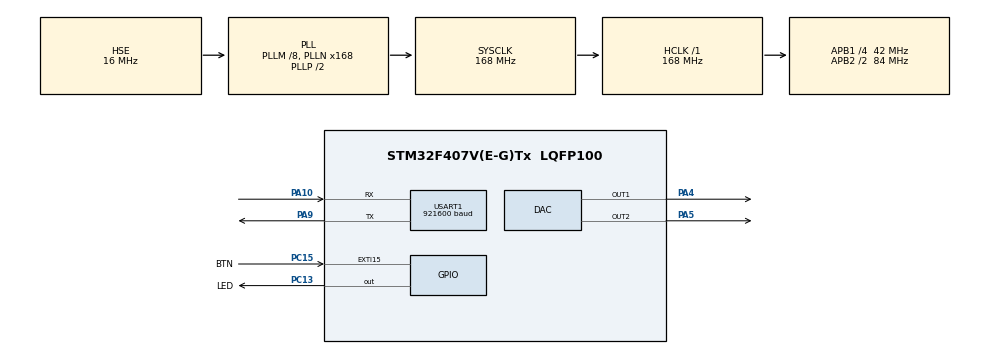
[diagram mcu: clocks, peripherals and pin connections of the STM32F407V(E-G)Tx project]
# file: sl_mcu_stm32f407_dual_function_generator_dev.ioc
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ARM.CMSIS.5.6.0.CMSISJjCORE=true
ARM.CMSIS.5.6.0.CMSISJjDSP=Library
DAC.DAC_Trigger=DAC_TRIGGER_T6_TRGO
DAC.DAC_Trigger2=DAC_TRIGGER_T6_TRGO
Dma.DAC1.0.Direction=DMA_MEMORY_TO_PERIPH
Dma.DAC1.0.FIFOMode=DMA_FIFOMODE_DISABLE
Dma.DAC1.0.Instance=DMA1_Stream5
Dma.DAC1.0.MemDataAlignment=DMA_MDATAALIGN_HALFWORD
Dma.DAC1.0.MemInc=DMA_MINC_ENABLE
Dma.DAC1.0.Mode=DMA_CIRCULAR
Dma.DAC1.0.PeriphDataAlignment=DMA_PDATAALIGN_HALFWORD
Dma.DAC1.0.PeriphInc=DMA_PINC_DISABLE
Dma.DAC1.0.Priority=DMA_PRIORITY_LOW
Dma.DAC2.1.Direction=DMA_MEMORY_TO_PERIPH
Dma.DAC2.1.FIFOMode=DMA_FIFOMODE_DISABLE
Dma.DAC2.1.Instance=DMA1_Stream6
Dma.DAC2.1.MemDataAlignment=DMA_MDATAALIGN_HALFWORD
Dma.DAC2.1.MemInc=DMA_MINC_ENABLE
Dma.DAC2.1.Mode=DMA_CIRCULAR
Dma.DAC2.1.PeriphDataAlignment=DMA_PDATAALIGN_HALFWORD
Dma.DAC2.1.PeriphInc=DMA_PINC_DISABLE
Dma.DAC2.1.Priority=DMA_PRIORITY_LOW
Dma.Request0=DAC1
Dma.Request1=DAC2
Mcu.Family=STM32F4
Mcu.Name=STM32F407V(E-G)Tx
Mcu.Package=LQFP100
NVIC.DMA1_Stream5_IRQn=true\:0\:0\:false\:false\:true\:false\:true\:true
NVIC.DMA1_Stream6_IRQn=true\:0\:0\:false\:false\:true\:false\:true\:true
NVIC.EXTI15_10_IRQn=true\:0\:0\:false\:false\:true\:true\:true\:true
NVIC.PriorityGroup=NVIC_PRIORITYGROUP_4
PA10.Mode=Asynchronous
PA10.Signal=USART1_RX
PA13.Mode=Trace_Asynchronous_SW
PA13.Signal=SYS_JTMS-SWDIO
PA14.Mode=Trace_Asynchronous_SW
PA14.Signal=SYS_JTCK-SWCLK
PA4.Signal=COMP_DAC1_group
PA5.Signal=COMP_DAC2_group
PA9.Mode=Asynchronous
PA9.Signal=USART1_TX
PB3.Mode=Trace_Asynchronous_SW
PB3.Signal=SYS_JTDO-SWO
PC13-ANTI_TAMP.GPIO_Label=LED
PC13-ANTI_TAMP.GPIO_ModeDefaultOutputPP=GPIO_MODE_OUTPUT_OD
PC13-ANTI_TAMP.GPIO_PuPd=GPIO_NOPULL
PC13-ANTI_TAMP.PinState=GPIO_PIN_SET
PC13-ANTI_TAMP.Signal=GPIO_Output
PC15-OSC32_OUT.GPIO_Label=BTN
PC15-OSC32_OUT.GPIO_ModeDefaultEXTI=GPIO_MODE_IT_FALLING
PC15-OSC32_OUT.Signal=GPXTI15
PH0-OSC_IN.Mode=HSE-External-Oscillator
PH0-OSC_IN.Signal=RCC_OSC_IN
PH1-OSC_OUT.Mode=HSE-External-Oscillator
PH1-OSC_OUT.Signal=RCC_OSC_OUT
ProjectManager.HeapSize=0x200
ProjectManager.StackSize=0x400
ProjectManager.TargetToolchain=STM32CubeIDE
RCC.48MHZClocksFreq_Value=84000000
RCC.AHBFreq_Value=168000000
RCC.APB1CLKDivider=RCC_HCLK_DIV4
RCC.APB1Freq_Value=42000000
RCC.APB1TimFreq_Value=84000000
RCC.APB2CLKDivider=RCC_HCLK_DIV2
RCC.APB2Freq_Value=84000000
RCC.APB2TimFreq_Value=168000000
RCC.CortexFreq_Value=168000000
RCC.HCLKFreq_Value=168000000
RCC.HSE_VALUE=16000000
RCC.HSI_VALUE=16000000
RCC.LSE_VALUE=32768
RCC.PLLM=8
RCC.PLLN=168
RCC.PLLSourceVirtual=RCC_PLLSOURCE_HSE
RCC.SYSCLKFreq_VALUE=168000000
RCC.SYSCLKSource=RCC_SYSCLKSOURCE_PLLCLK
RCC.VCOOutputFreq_Value=336000000
SH.COMP_DAC1_group.0=DAC_OUT1,DAC_OUT1
SH.COMP_DAC2_group.0=DAC_OUT2,DAC_OUT2
TIM6.Period=5 - 1
TIM6.Prescaler=84 - 1
TIM6.TIM_MasterOutputTrigger=TIM_TRGO_UPDATE
USART1.BaudRate=921600
USART1.VirtualMode=VM_ASYNC
VP_ARM.CMSIS_VS_CMSISJjCORE_5.3.0_5.6.0.Mode=CMSISJjCORE
VP_ARM.CMSIS_VS_CMSISJjDSP_1.7.0_5.6.0.Mode=CMSISJjDSP
VP_TIM6_VS_ClockSourceINT.Mode=Enable_Timer
board=custom

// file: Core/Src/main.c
/* USER CODE BEGIN Header */
/**
 ******************************************************************************
 * @file           : main.c
 * @brief          : Main program body
 ******************************************************************************
 * @attention
 *
 * Copyright (c) 2026 STM32World <lth@stm32world.com>
 * All rights reserved.
 *
 * This software is licensed under terms that can be found in the LICENSE file
 * in the root directory of this software component.
 * If no LICENSE file comes with this software, it is provided AS-IS.
 *
 ******************************************************************************
 */
/* USER CODE END Header */
#include "main.h"

/* USER CODE BEGIN Includes */
#include <stdio.h>
#include <math.h>
#include <arm_math.h>
/* USER CODE END Includes */

/* USER CODE BEGIN PTD */

enum wave_t {
    SINE_WAVE = 0,
    SAW_LEFT_WAVE = 1,
    SAW_RIGHT_WAVE = 2,
    TRIANGLE_WAVE = 3,
    SQUARE_WAVE = 4
};

typedef struct {
    uint16_t *buffer;
    enum wave_t wave_type;
    float angle;
    float angle_change;
    float amplification;
    uint16_t value;
    uint16_t value_change;
} channel_queue_t;

/* USER CODE END PTD */

/* USER CODE BEGIN PD */

#define DMA_BUFFER_SIZE 64
#define SAMPLE_FREQ 200000
#define OUTPUT_MID 2048

/* USER CODE END PD */

DAC_HandleTypeDef hdac;
DMA_HandleTypeDef hdma_dac1;
DMA_HandleTypeDef hdma_dac2;

TIM_HandleTypeDef htim6;

UART_HandleTypeDef huart1;

/* USER CODE BEGIN PV */

uint16_t dma_buffer_1[2 * DMA_BUFFER_SIZE];
uint16_t dma_buffer_2[2 * DMA_BUFFER_SIZE];

// Handler for both channels
channel_queue_t dacs[2] = {
        {
                &dma_buffer_1[0],
                SINE_WAVE,
                0,
                1000 * (2 * M_PI / SAMPLE_FREQ),
                0.99,
                0,
                0
        },
        {
                &dma_buffer_2[0],
                SINE_WAVE,
                0,
                999 * (2 * M_PI / SAMPLE_FREQ),
                0.90,
                0,
                0
        }
};

uint8_t change_wave = 0;

float two_pi = 2 * M_PI;

/* USER CODE END PV */

void SystemClock_Config(void);
static void MX_GPIO_Init(void);
static void MX_DMA_Init(void);
static void MX_DAC_Init(void);
static void MX_USART1_UART_Init(void);
static void MX_TIM6_Init(void);

/* USER CODE BEGIN 0 */

// Send printf to uart1
int __io_putchar(int ch) {
    if (ch == '\n') {
        HAL_UART_Transmit(&huart1, (uint8_t*) "\r", 1, HAL_MAX_DELAY);
    }
    if (HAL_UART_Transmit(&huart1, (uint8_t*) &ch, 1, HAL_MAX_DELAY) != HAL_OK) {
        return -1;
    }
    return ch;
}

void process_buffer(channel_queue_t *channel) {
    // Run through the buffer
    for (int i = 0; i < DMA_BUFFER_SIZE; ++i) {

        // Since we got the angle, calculating the dac value is quite simple.  The arm_cos_f32 function
        // is blindingly fast compared with the fpu
        channel->buffer[i] = OUTPUT_MID - (channel->amplification * (OUTPUT_MID * arm_cos_f32(channel->angle)));

        // Prepare angle for next point simply by adding the pre-calculated angle change (based on frequency)
        channel->angle += channel->angle_change;

        // If we've gone full circle - cycle back
        if (channel->angle >= two_pi) {
            channel->angle -= two_pi;
        }

    }
}

void HAL_DAC_ConvHalfCpltCallbackCh1(DAC_HandleTypeDef *hdac) {
    //++conv_half_ch1;
    dacs[0].buffer = &dma_buffer_1[0];
    process_buffer(&dacs[0]);
}

void HAL_DAC_ConvCpltCallbackCh1(DAC_HandleTypeDef *hdac) {
    //++conv_ch1;
    dacs[0].buffer = &dma_buffer_1[DMA_BUFFER_SIZE];
    process_buffer(&dacs[0]);
}

void HAL_DACEx_ConvHalfCpltCallbackCh2(DAC_HandleTypeDef *hdac) {
    //++conv_half_ch2;
    dacs[1].buffer = &dma_buffer_2[0];
    process_buffer(&dacs[1]);
}

void HAL_DACEx_ConvCpltCallbackCh2(DAC_HandleTypeDef *hdac) {
    //++conv_ch2;
    dacs[1].buffer = &dma_buffer_2[DMA_BUFFER_SIZE];
    process_buffer(&dacs[1]);
}

void HAL_GPIO_EXTI_Callback(uint16_t GPIO_Pin) {
    if (GPIO_Pin == BTN_Pin) { // If the button
        change_wave = 1;
    }
}

/* USER CODE END 0 */

int main(void)
{

    /* MCU Configuration--------------------------------------------------------*/

    /* Reset of all peripherals, Initializes the Flash interface and the Systick. */
    HAL_Init();

    /* Configure the system clock */
    SystemClock_Config();

    /* Initialize all configured peripherals */
    MX_GPIO_Init();
    MX_DMA_Init();
    MX_DAC_Init();
    MX_USART1_UART_Init();
    MX_TIM6_Init();
    /* USER CODE BEGIN 2 */

    printf("\n\n\nStarting Function Generator\n");

    HAL_TIM_Base_Start_IT(&htim6);

    HAL_DAC_Start_DMA(&hdac, DAC_CHANNEL_1, (uint32_t*) &dma_buffer_1, 2 * DMA_BUFFER_SIZE, DAC_ALIGN_12B_R);
    HAL_DAC_Start_DMA(&hdac, DAC_CHANNEL_2, (uint32_t*) &dma_buffer_2, 2 * DMA_BUFFER_SIZE, DAC_ALIGN_12B_R);

    /* USER CODE END 2 */

    /* Infinite loop */
    /* USER CODE BEGIN WHILE */

    uint32_t now, loop_cnt = 0, next_blink = 500, next_tick = 1000;

    while (1) {

        now = uwTick;

        if (change_wave) {
            printf("Change trigger\n");
            change_wave = 0;
        }

        if (now >= next_blink) {
            HAL_GPIO_TogglePin(LED_GPIO_Port, LED_Pin);
            next_blink = now + 500;
        }

        if (now >= next_tick) {
            printf("Tick %lu (loop=%lu)\n", now / 1000, loop_cnt);
            loop_cnt = 0;
            next_tick = now + 1000;
        }

        ++loop_cnt;

        /* USER CODE END WHILE */

    }
}

void SystemClock_Config(void)
{
    RCC_OscInitTypeDef RCC_OscInitStruct = { 0 };
    RCC_ClkInitTypeDef RCC_ClkInitStruct = { 0 };

    /** Configure the main internal regulator output voltage
     */
    __HAL_RCC_PWR_CLK_ENABLE();
    __HAL_PWR_VOLTAGESCALING_CONFIG(PWR_REGULATOR_VOLTAGE_SCALE1);

    /** Initializes the RCC Oscillators according to the specified parameters
     * in the RCC_OscInitTypeDef structure.
     */
    RCC_OscInitStruct.OscillatorType = RCC_OSCILLATORTYPE_HSE;
    RCC_OscInitStruct.HSEState = RCC_HSE_ON;
    RCC_OscInitStruct.PLL.PLLState = RCC_PLL_ON;
    RCC_OscInitStruct.PLL.PLLSource = RCC_PLLSOURCE_HSE;
    RCC_OscInitStruct.PLL.PLLM = 8;
    RCC_OscInitStruct.PLL.PLLN = 168;
    RCC_OscInitStruct.PLL.PLLP = RCC_PLLP_DIV2;
    RCC_OscInitStruct.PLL.PLLQ = 4;
    if (HAL_RCC_OscConfig(&RCC_OscInitStruct) != HAL_OK)
            {
        Error_Handler();
    }

    /** Initializes the CPU, AHB and APB buses clocks
     */
    RCC_ClkInitStruct.ClockType = RCC_CLOCKTYPE_HCLK | RCC_CLOCKTYPE_SYSCLK
            | RCC_CLOCKTYPE_PCLK1 | RCC_CLOCKTYPE_PCLK2;
    RCC_ClkInitStruct.SYSCLKSource = RCC_SYSCLKSOURCE_PLLCLK;
    RCC_ClkInitStruct.AHBCLKDivider = RCC_SYSCLK_DIV1;
    RCC_ClkInitStruct.APB1CLKDivider = RCC_HCLK_DIV4;
    RCC_ClkInitStruct.APB2CLKDivider = RCC_HCLK_DIV2;

    if (HAL_RCC_ClockConfig(&RCC_ClkInitStruct, FLASH_LATENCY_5) != HAL_OK)
            {
        Error_Handler();
    }
}

static void MX_DAC_Init(void)
{

    DAC_ChannelConfTypeDef sConfig = { 0 };

    /** DAC Initialization
     */
    hdac.Instance = DAC;
    if (HAL_DAC_Init(&hdac) != HAL_OK)
            {
        Error_Handler();
    }

    /** DAC channel OUT1 config
     */
    sConfig.DAC_Trigger = DAC_TRIGGER_T6_TRGO;
    sConfig.DAC_OutputBuffer = DAC_OUTPUTBUFFER_ENABLE;
    if (HAL_DAC_ConfigChannel(&hdac, &sConfig, DAC_CHANNEL_1) != HAL_OK)
            {
        Error_Handler();
    }

    /** DAC channel OUT2 config
     */
    if (HAL_DAC_ConfigChannel(&hdac, &sConfig, DAC_CHANNEL_2) != HAL_OK)
            {
        Error_Handler();
    }

}

static void MX_TIM6_Init(void)
{

    TIM_MasterConfigTypeDef sMasterConfig = { 0 };

    htim6.Instance = TIM6;
    htim6.Init.Prescaler = 84 - 1;
    htim6.Init.CounterMode = TIM_COUNTERMODE_UP;
    htim6.Init.Period = 5 - 1;
    htim6.Init.AutoReloadPreload = TIM_AUTORELOAD_PRELOAD_DISABLE;
    if (HAL_TIM_Base_Init(&htim6) != HAL_OK)
            {
        Error_Handler();
    }
    sMasterConfig.MasterOutputTrigger = TIM_TRGO_UPDATE;
    sMasterConfig.MasterSlaveMode = TIM_MASTERSLAVEMODE_DISABLE;
    if (HAL_TIMEx_MasterConfigSynchronization(&htim6, &sMasterConfig) != HAL_OK)
            {
        Error_Handler();
    }

}

static void MX_USART1_UART_Init(void)
{

    huart1.Instance = USART1;
    huart1.Init.BaudRate = 921600;
    huart1.Init.WordLength = UART_WORDLENGTH_8B;
    huart1.Init.StopBits = UART_STOPBITS_1;
    huart1.Init.Parity = UART_PARITY_NONE;
    huart1.Init.Mode = UART_MODE_TX_RX;
    huart1.Init.HwFlowCtl = UART_HWCONTROL_NONE;
    huart1.Init.OverSampling = UART_OVERSAMPLING_16;
    if (HAL_UART_Init(&huart1) != HAL_OK)
            {
        Error_Handler();
    }

}

static void MX_DMA_Init(void)
{

    /* DMA controller clock enable */
    __HAL_RCC_DMA1_CLK_ENABLE();

    /* DMA interrupt init */
    /* DMA1_Stream5_IRQn interrupt configuration */
    HAL_NVIC_SetPriority(DMA1_Stream5_IRQn, 0, 0);
    HAL_NVIC_EnableIRQ(DMA1_Stream5_IRQn);
    /* DMA1_Stream6_IRQn interrupt configuration */
    HAL_NVIC_SetPriority(DMA1_Stream6_IRQn, 0, 0);
    HAL_NVIC_EnableIRQ(DMA1_Stream6_IRQn);

}

static void MX_GPIO_Init(void)
{
    GPIO_InitTypeDef GPIO_InitStruct = { 0 };

    /* GPIO Ports Clock Enable */
    __HAL_RCC_GPIOC_CLK_ENABLE();
    __HAL_RCC_GPIOH_CLK_ENABLE();
    __HAL_RCC_GPIOA_CLK_ENABLE();
    __HAL_RCC_GPIOB_CLK_ENABLE();

    /*Configure GPIO pin Output Level */
    HAL_GPIO_WritePin(LED_GPIO_Port, LED_Pin, GPIO_PIN_SET);

    /*Configure GPIO pin : LED_Pin */
    GPIO_InitStruct.Pin = LED_Pin;
    GPIO_InitStruct.Mode = GPIO_MODE_OUTPUT_OD;
    GPIO_InitStruct.Pull = GPIO_NOPULL;
    GPIO_InitStruct.Speed = GPIO_SPEED_FREQ_LOW;
    HAL_GPIO_Init(LED_GPIO_Port, &GPIO_InitStruct);

    /*Configure GPIO pin : BTN_Pin */
    GPIO_InitStruct.Pin = BTN_Pin;
    GPIO_InitStruct.Mode = GPIO_MODE_IT_FALLING;
    GPIO_InitStruct.Pull = GPIO_NOPULL;
    HAL_GPIO_Init(BTN_GPIO_Port, &GPIO_InitStruct);

    /* EXTI interrupt init*/
    HAL_NVIC_SetPriority(EXTI15_10_IRQn, 0, 0);
    HAL_NVIC_EnableIRQ(EXTI15_10_IRQn);

}

void Error_Handler(void)
{
    __disable_irq();
    while (1)
    {
    }
}
